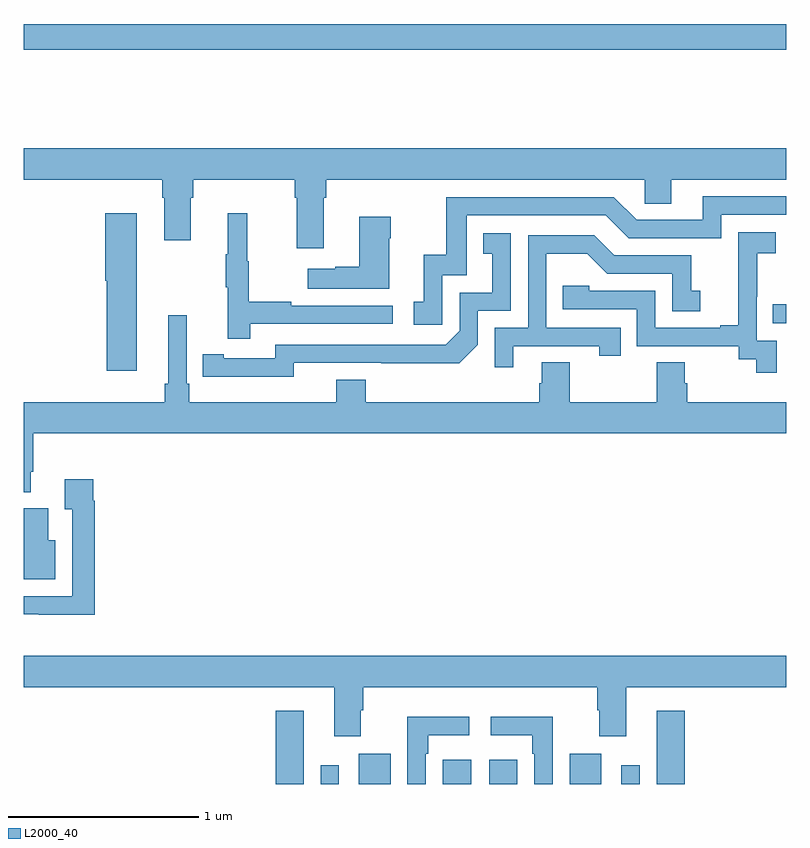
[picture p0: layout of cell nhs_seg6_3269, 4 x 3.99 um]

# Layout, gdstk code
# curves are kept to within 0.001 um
import gdstk
lib = gdstk.Library(unit=1e-6, precision=1e-09)
def R(c, l, rs):  # rectangles x0, y0, x1, y1
    for r in rs: c.add(gdstk.rectangle(r[:2], r[2:], *l))
def P(c, l, *ps):  # polygons
    for p in ps: c.add(gdstk.Polygon(p, *l))
L2000_40 = (2000, 40)

nhs_seg6_3269 = lib.new_cell('nhs_seg6_3269')
R(nhs_seg6_3269, L2000_40, [(304.322,941.5,304.468,941.884), (304.557,941.5,304.653,941.599), (304.757,941.5,304.924,941.659), (305.198,941.5,305.347,941.626), (305.441,941.5,305.59,941.626), (305.864,941.5,306.031,941.659), (306.135,941.5,306.231,941.599), (306.32,941.5,306.467,941.884), (306.931,943.917,307,944.018), (303,945.352,307,945.488)])
P(nhs_seg6_3269, L2000_40, [(304.573,944.576),(304.586,944.576),(304.586,944.672),(306.258,944.672),(306.258,944.545),(306.397,944.545),(306.397,944.672),(307,944.672),(307,944.836),(303,944.836),(303,944.672),(303.725,944.672),(303.725,944.576),(303.737,944.576),(303.737,944.352),(303.877,944.352),(303.877,944.576),(303.89,944.576),(303.89,944.672),(304.421,944.672),(304.421,944.576),(304.433,944.576),(304.433,944.31),(304.573,944.31)],
  [(305.196,944.169),(305.325,944.169),(305.325,944.484),(306.054,944.484),(306.174,944.364),(306.66,944.364),(306.66,944.487),(307,944.487),(307,944.583),(306.563,944.583),(306.563,944.46),(306.216,944.46),(306.096,944.58),(305.217,944.58),(305.217,944.278),(305.099,944.278),(305.099,944.031),(305.046,944.031),(305.046,943.911),(305.196,943.911)],
  [(303.592,944.494),(303.428,944.494),(303.428,944.142),(303.434,944.142),(303.434,943.668),(303.592,943.668)],
  [(304.187,943.914),(304.936,943.914),(304.936,944.01),(304.403,944.01),(304.403,944.03),(304.18,944.03),(304.18,944.244),(304.172,944.244),(304.172,944.494),(304.07,944.494),(304.07,944.281),(304.059,944.281),(304.059,944.107),(304.07,944.107),(304.07,943.836),(304.187,943.836)],
  [(304.918,944.363),(304.926,944.363),(304.926,944.476),(304.76,944.476),(304.76,944.213),(304.634,944.213),(304.634,944.203),(304.491,944.203),(304.491,944.099),(304.918,944.099)],
  [(306.951,943.827),(306.846,943.827),(306.846,944.057),(306.848,944.057),(306.848,944.285),(306.946,944.285),(306.946,944.395),(306.748,944.395),(306.748,944.189),(306.749,944.189),(306.749,943.906),(306.653,943.906),(306.653,943.893),(306.312,943.893),(306.312,944.088),(305.967,944.088),(305.967,944.115),(305.827,944.115),(305.827,943.992),(306.216,943.992),(306.216,943.797),(306.75,943.797),(306.75,943.729),(306.843,943.729),(306.843,943.659),(306.951,943.659)],
  [(304.416,943.71),(305.284,943.709),(305.382,943.806),(305.382,943.983),(305.556,943.983),(305.556,944.389),(305.41,944.389),(305.41,944.283),(305.459,944.283),(305.459,944.079),(305.286,944.079),(305.286,943.878),(305.214,943.806),(304.32,943.806),(304.32,943.734),(304.048,943.734),(304.048,943.754),(303.94,943.754),(303.94,943.638),(304.416,943.637)],
  [(305.569,943.797),(306.02,943.797),(306.02,943.746),(306.131,943.746),(306.131,943.893),(305.742,943.893),(305.742,944.282),(305.956,944.282),(306.06,944.178),(306.402,944.178),(306.402,943.98),(306.55,943.98),(306.55,944.089),(306.501,944.089),(306.501,944.274),(306.097,944.274),(305.992,944.379),(305.646,944.379),(305.646,943.893),(305.472,943.893),(305.472,943.686),(305.569,943.686)],
  [(303,943.031),(303.037,943.031),(303.037,943.138),(303.05,943.138),(303.05,943.34),(307,943.34),(307,943.504),(306.482,943.504),(306.482,943.602),(306.469,943.602),(306.469,943.712),(306.322,943.712),(306.322,943.504),(305.865,943.504),(305.865,943.712),(305.717,943.712),(305.717,943.602),(305.705,943.602),(305.705,943.504),(304.793,943.504),(304.793,943.621),(304.64,943.621),(304.64,943.504),(303.869,943.504),(303.869,943.6),(303.855,943.6),(303.855,943.96),(303.758,943.96),(303.758,943.6),(303.739,943.6),(303.739,943.504),(303,943.504)],
  [(303.371,942.986),(303.364,942.986),(303.364,943.099),(303.215,943.099),(303.215,942.943),(303.255,942.943),(303.255,942.486),(303,942.486),(303,942.39),(303.079,942.39),(303.079,942.389),(303.371,942.389)],
  [(303.166,942.778),(303.127,942.778),(303.127,942.946),(303,942.946),(303,942.575),(303.166,942.575)],
  [(304.768,941.888),(304.781,941.888),(304.781,942.008),(306.008,942.008),(306.008,941.888),(306.02,941.888),(306.02,941.751),(306.16,941.751),(306.16,942.008),(307,942.008),(307,942.172),(303,942.172),(303,942.008),(304.628,942.008),(304.628,941.751),(304.768,941.751)],
  [(305.109,941.66),(305.122,941.66),(305.122,941.756),(305.338,941.756),(305.338,941.854),(305.013,941.854),(305.013,941.5),(305.109,941.5)],
  [(305.775,941.854),(305.451,941.854),(305.451,941.756),(305.667,941.756),(305.667,941.66),(305.679,941.66),(305.679,941.5),(305.775,941.5)])

lib.write_gds('nhs_seg6_3269.gds')
